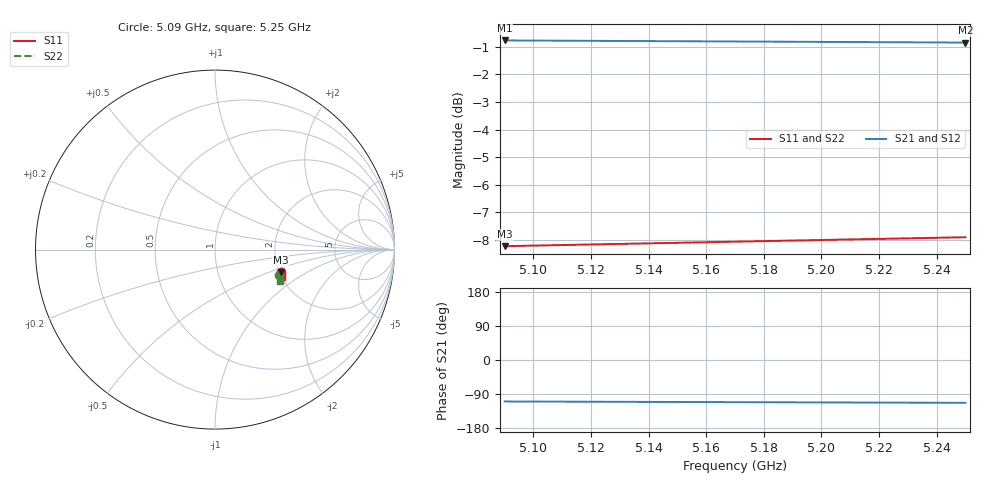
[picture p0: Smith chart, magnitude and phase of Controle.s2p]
! Touchstone file exported from HFSS 2024.2.0
!  File:  D:/dev/EMBRAER/P1H/R01_Bobinas/Controle/Controle.aedt
!  Generated:  05:03:00 PM Nov  6, 2026
!  Design:  Controle
!  Project:  Controle
!  Setup:  Cupom
!  Solution:  Banda
# GHz S RI R 50.000000
! Terminal data exported
! Port[1] = Entrada
! Port[2] = Saida
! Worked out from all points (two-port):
!   17 points, 5.09 GHz to 5.25 GHz, reference 50 ohm
!   highest |S21| = -0.77 dB at 5.09 GHz (marker M1); lowest = -0.8 dB at 5.25 GHz (marker M2)
!   |S21| within 3 dB of the highest: start of sweep to end of sweep
!   lowest |S11| = -8.2 dB at 5.09 GHz (marker M3), VSWR 2.27, Z = 102 - j30.3 ohm
!   |S11| at or under -10 dB: nowhere
!   |S22| runs from -8.3 to -7.9 dB; largest |S21 - S12| = 1e-15
5.09  0.3668 -0.1263  -0.3052 -0.8627  -0.3052 -0.8627  0.359 -0.1436
! Gamma 0 0 0 0
! Port Impedance 50 0 50 0
5.1  0.3671 -0.128  -0.3083 -0.861  -0.3083 -0.861  0.3592 -0.1454
5.11  0.3675 -0.1298  -0.3115 -0.8594  -0.3115 -0.8594  0.3594 -0.1472
5.12  0.3678 -0.1316  -0.3147 -0.8577  -0.3147 -0.8577  0.3596 -0.1491
5.13  0.3682 -0.1334  -0.3178 -0.856  -0.3178 -0.856  0.3598 -0.1509
5.14  0.3685 -0.1352  -0.3209 -0.8543  -0.3209 -0.8543  0.36 -0.1528
5.15  0.3688 -0.137  -0.324 -0.8526  -0.324 -0.8526  0.3602 -0.1546
5.16  0.3691 -0.1388  -0.3272 -0.8509  -0.3272 -0.8509  0.3603 -0.1565
5.17  0.3694 -0.1406  -0.3303 -0.8492  -0.3303 -0.8492  0.3605 -0.1584
5.18  0.3697 -0.1424  -0.3334 -0.8474  -0.3334 -0.8474  0.3607 -0.1602
5.19  0.37 -0.1442  -0.3364 -0.8456  -0.3364 -0.8456  0.3608 -0.1621
5.2  0.3703 -0.1461  -0.3395 -0.8438  -0.3395 -0.8438  0.3609 -0.164
5.21  0.3705 -0.1479  -0.3426 -0.842  -0.3426 -0.842  0.3611 -0.1659
5.22  0.3708 -0.1498  -0.3456 -0.8402  -0.3456 -0.8402  0.3612 -0.1678
5.23  0.371 -0.1516  -0.3487 -0.8384  -0.3487 -0.8384  0.3613 -0.1697
5.24  0.3713 -0.1535  -0.3517 -0.8366  -0.3517 -0.8366  0.3614 -0.1716
5.25  0.3715 -0.1553  -0.3548 -0.8347  -0.3548 -0.8347  0.3614 -0.1735
